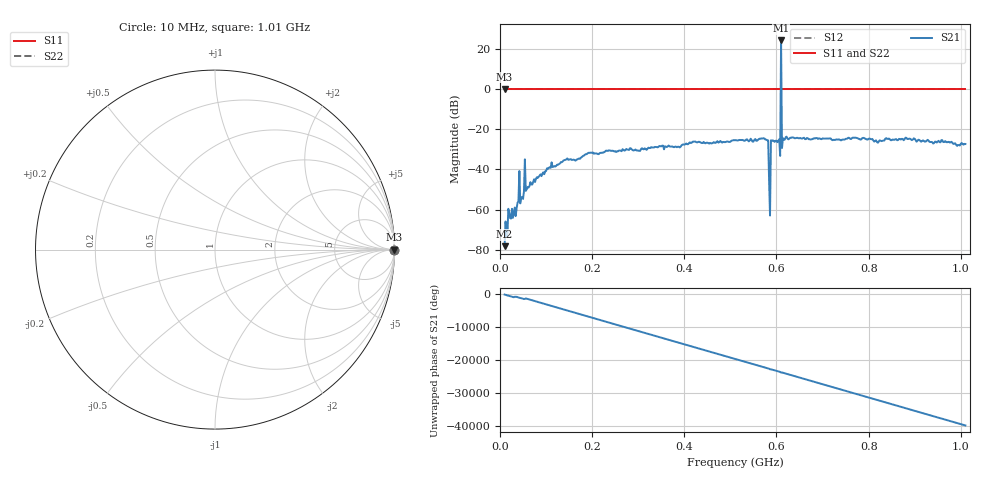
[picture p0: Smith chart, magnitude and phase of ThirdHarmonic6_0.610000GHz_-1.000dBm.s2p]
! 8/15/2025 7:59:47 PM
! C:\ANRITSUVNA\TEMP\TEMP.S2P
! CHANNEL.1
! TR.MEASUREMENT
! RAW.DATA
! RF.CORRECTION.OFF
! AVERAGING.OFF
! IF.BANDWIDTH: 5KHZ
! SWEEPTYPE:  FREQ.SWEEP(Linear)
! Reference Plane Port Info
! PORT:  PORT1  PORT2
! DISTANCE:  0  m  0  m
! TIME:  0  s  0  s
! PHASE.OFFSET:  0  deg.  0  deg.
! LOSS:  0  dB  0  dB
! REF.LOSS:  0  dB  0  dB
! REF.FREQ:  0  Hz  0  Hz
! Power Info
! POWER:  -20  dBm  -20  dBm
! EFF.POWER:  -20  dBm  -20  dBm
! SOURCE.ATTEN:  0  dB  0  dB
! TEST.ATTEN:  0  dB  0  dB
# GHZ S RI R 50.0
! FREQ.GHZ  S11RE  S11IM  S21RE  S21IM  S12RE  S12IM  S22RE  S22IM
!; PortSelection: Port_12
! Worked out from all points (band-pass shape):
!   501 points, 10 MHz to 1.01 GHz, reference 50 ohm
!   highest |S21| = 24.12 dB at 610 MHz (marker M1); lowest = -78.2 dB at 10 MHz (marker M2)
!   |S21| within 3 dB of the highest: 609.8955 MHz to 610.1122 MHz (216.7 kHz wide, 0.0355 % of centre)
!   lowest |S11| = 0.0 dB at 10 MHz (marker M3)
!   |S11| at or under -10 dB: nowhere
!   |S22| runs from 0.0 to 0.0 dB; largest |S21 - S12| = 16
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0.01  1 0  -0.000119 -3.36e-05  1 0  1 0
0.022  1 0  0.000163 0.000592  1 0  1 0
0.032  1 0  -0.000429 -0.00104  1 0  1 0
0.04  1 0  0.00134 0.000888  1 0  1 0
0.048  1 0  0.000965 0.00179  1 0  1 0
0.056  1 0  -0.00029 0.0029  1 0  1 0
0.178  1 0  -0.0204 -0.00179  1 0  1 0
0.344  1 0  0.0289 -0.0223  1 0  1 0
0.51  1 0  -0.0205 0.0489  1 0  1 0
0.578  1 0  -0.0225 -0.0498  1 0  1 0
0.582  1 0  0.00337 0.0525  1 0  1 0
0.586  1 0  -0.00065 -0.000294  1 0  1 0
0.588  1 0  -0.0491 -0.0196  1 0  1 0
0.592  1 0  0.0371 0.0377  1 0  1 0
0.604  1 0  0.0181 -0.0484  1 0  1 0
0.606  1 0  -0.0499 -0.0255  1 0  1 0
0.61  1 0  8.992 -13.31  1 0  1 0
0.614  1 0  -0.0283 -0.053  1 0  1 0
0.616  1 0  -0.0495 0.021  1 0  1 0
0.678  1 0  -0.0563 0.00531  1 0  1 0
0.844  1 0  0.0411 -0.0414  1 0  1 0
1.01  1 0  -0.00423 0.0426  1 0  1 0
